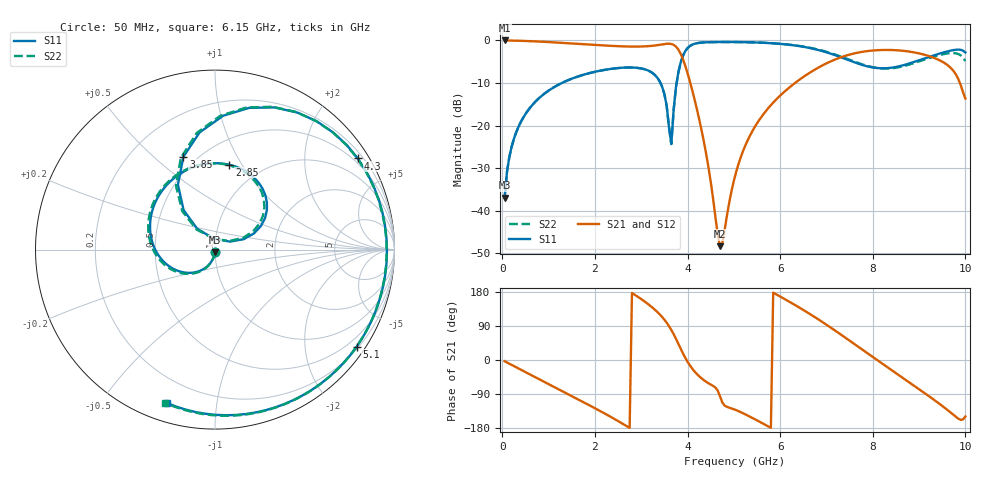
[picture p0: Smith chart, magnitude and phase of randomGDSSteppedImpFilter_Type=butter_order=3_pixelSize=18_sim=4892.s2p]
! freq	dB(S11)	phase(S11)	dB(S12)	phase(S12)
!  dB(S21)	phase(S21)	dB(S22)	phase(S22)
!S-par simulation data
#  GHz  S  DB  R 50
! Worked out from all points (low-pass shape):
!   200 points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, 50 MHz to 10 GHz, reference 50 ohm
!   highest |S21| = -0.01 dB at 50 MHz (marker M1); lowest = -48.4 dB at 4.7 GHz (marker M2)
!   |S21| within 3 dB of the highest: start of sweep to 3.845 GHz; 7.618 GHz to 8.981 GHz (1.363 GHz wide, 16.4 % of centre)
!   lowest |S11| = -37.0 dB at 50 MHz (marker M3), VSWR 1.03, Z = 49.9 - j1.41 ohm
!   |S11| at or under -10 dB: start of sweep to 1.286 GHz; 3.415 GHz to 3.765 GHz (350.1 MHz wide, 9.75 % of centre)
!   |S22| runs from -37.0 to -0.4 dB; largest |S21 - S12| = 0
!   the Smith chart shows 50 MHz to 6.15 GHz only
!   S11 on the Smith chart (normalised r, x): 50 MHz: 1.00, -0.03; 2.85 GHz: 0.72, +0.88; 3.85 GHz: 0.42, +0.63; 4.3 GHz: 0.36, +3.39; 5.1 GHz: 0.25, -3.21; 6.15 GHz: 0.08, -0.73
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0.05  -36.99 -92.9  -0.01 -3.3  -0.01 -3.3  -36.99 -92.7
0.2  -25.06 -103.3  -0.03 -12.8  -0.03 -12.8  -25.06 -102.6
0.5  -17.31 -123.2  -0.13 -31.9  -0.13 -31.9  -17.30 -121.6
1.15  -10.77 -165.4  -0.47 -73.0  -0.47 -73.0  -10.78 -162.0
1.75  -8.08 155.9  -0.89 -111.0  -0.89 -111.0  -8.08 160.6
2.85  -6.38 80.5  -1.45 173.0  -1.45 173.0  -6.39 85.1
3.4  -9.65 32.2  -1.02 120.3  -1.02 120.3  -9.65 35.5
3.65  -24.35 95.4  -0.84 79.3  -0.84 79.3  -24.35 97.4
3.85  -5.25 108.8  -3.10 30.3  -3.10 30.3  -5.27 110.4
4.05  -1.32 67.2  -9.60 -14.1  -9.60 -14.1  -1.34 68.1
4.3  -0.50 32.6  -20.94 -48.1  -20.94 -48.1  -0.52 32.6
4.7  -0.37 -4.5  -48.35 -95.3  -48.35 -95.3  -0.38 -5.6
5.05  -0.38 -30.9  -30.90 -132.2  -30.90 -132.2  -0.39 -32.7
5.1  -0.38 -34.5  -29.06 -134.9  -29.06 -134.9  -0.39 -36.4
6.15  -0.96 -107.5  -11.50 157.2  -11.50 157.2  -0.93 -108.1
6.7  -1.92 -149.7  -7.18 116.9  -7.18 116.9  -1.84 -146.3
7.45  -4.52 142.0  -3.48 55.3  -3.48 55.3  -4.35 157.4
8.35  -6.48 54.9  -2.24 -21.8  -2.24 -21.8  -6.60 82.3
8.9  -5.02 11.5  -2.83 -68.5  -2.83 -68.5  -5.29 28.5
9.4  -3.22 -25.0  -4.45 -111.9  -4.45 -111.9  -3.56 -23.4
9.8  -2.18 -60.5  -8.08 -150.7  -8.08 -150.7  -3.05 -78.3
10  -2.82 -91.1  -13.65 -149.0  -13.65 -149.0  -4.85 -129.6
